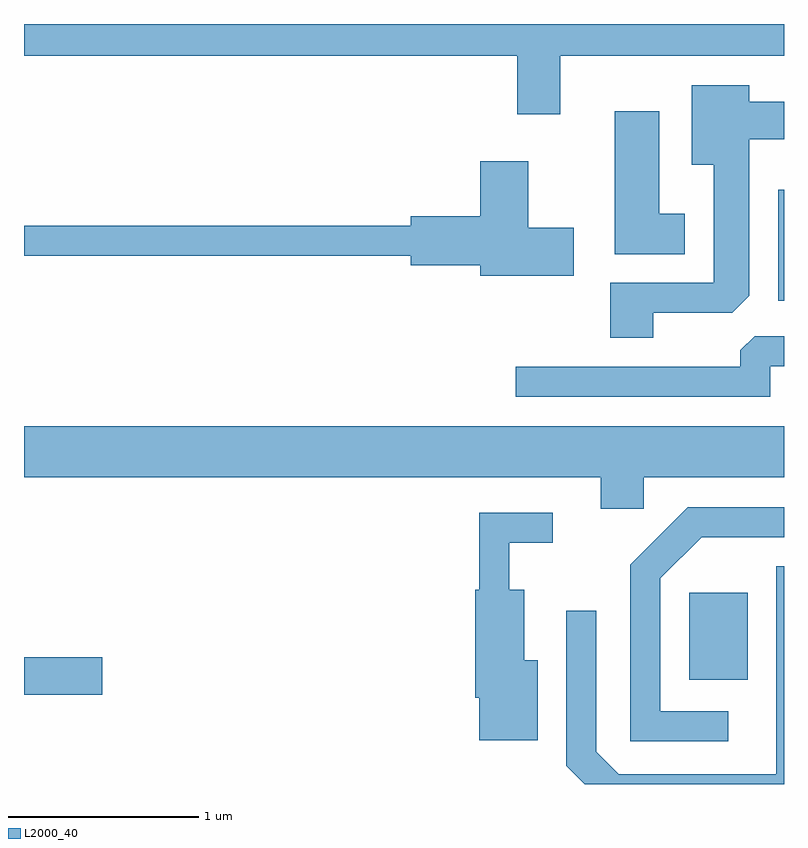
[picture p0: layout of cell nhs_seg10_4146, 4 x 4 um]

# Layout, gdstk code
import gdstk
lib = gdstk.Library(unit=1e-6, precision=1e-09)
def R(c, l, rs):  # rectangles x0, y0, x1, y1
    for r in rs: c.add(gdstk.rectangle(r[:2], r[2:], *l))
def P(c, l, *ps):  # polygons
    for p in ps: c.add(gdstk.Polygon(p, *l))
L2000_40 = (2000, 40)

nhs_seg10_4146 = lib.new_cell('nhs_seg10_4146')
R(nhs_seg10_4146, L2000_40, [(307.611,2114.991,308.024,2115.189), (311.111,2115.071,311.419,2115.529), (311.581,2117.066,311.611,2117.649)])
P(nhs_seg10_4146, L2000_40, [(310.434,2118.356),(311.611,2118.356),(311.611,2118.522),(307.611,2118.522),(307.611,2118.356),(310.206,2118.356),(310.206,2118.046),(310.434,2118.046)],
  [(310.924,2117.001),(311.339,2117.001),(311.429,2117.092),(311.429,2117.916),(311.611,2117.916),(311.611,2118.114),(311.429,2118.114),(311.429,2118.199),(311.126,2118.199),(311.126,2117.781),(311.241,2117.781),(311.241,2117.159),(310.696,2117.159),(310.696,2116.871),(310.924,2116.871)],
  [(311.089,2117.524),(310.954,2117.524),(310.954,2118.064),(310.721,2118.064),(310.721,2117.311),(311.089,2117.311)],
  [(310.504,2117.449),(310.264,2117.449),(310.264,2117.799),(310.011,2117.799),(310.011,2117.509),(309.646,2117.509),(309.646,2117.459),(307.611,2117.459),(307.611,2117.301),(309.646,2117.301),(309.646,2117.251),(310.011,2117.251),(310.011,2117.196),(310.504,2117.196)],
  [(311.539,2116.721),(311.611,2116.721),(311.611,2116.879),(311.457,2116.879),(311.381,2116.804),(311.381,2116.719),(310.198,2116.719),(310.198,2116.561),(311.539,2116.561)],
  [(307.611,2116.136),(310.646,2116.136),(310.646,2115.971),(310.874,2115.971),(310.874,2116.136),(311.611,2116.136),(311.611,2116.404),(307.611,2116.404)],
  [(311.318,2114.904),(310.959,2114.904),(310.959,2115.604),(311.177,2115.821),(311.611,2115.821),(311.611,2115.979),(311.104,2115.979),(310.801,2115.677),(310.801,2114.746),(311.318,2114.746)],
  [(310.314,2115.174),(310.244,2115.174),(310.244,2115.544),(310.164,2115.544),(310.164,2115.791),(310.393,2115.791),(310.393,2115.949),(310.006,2115.949),(310.006,2115.544),(309.986,2115.544),(309.986,2114.976),(310.006,2114.976),(310.006,2114.751),(310.314,2114.751)],
  [(311.611,2115.669),(311.571,2115.669),(311.571,2114.574),(310.742,2114.574),(310.624,2114.692),(310.624,2115.433),(310.466,2115.433),(310.466,2114.619),(310.563,2114.522),(311.611,2114.522)])

lib.write_gds('nhs_seg10_4146.gds')
